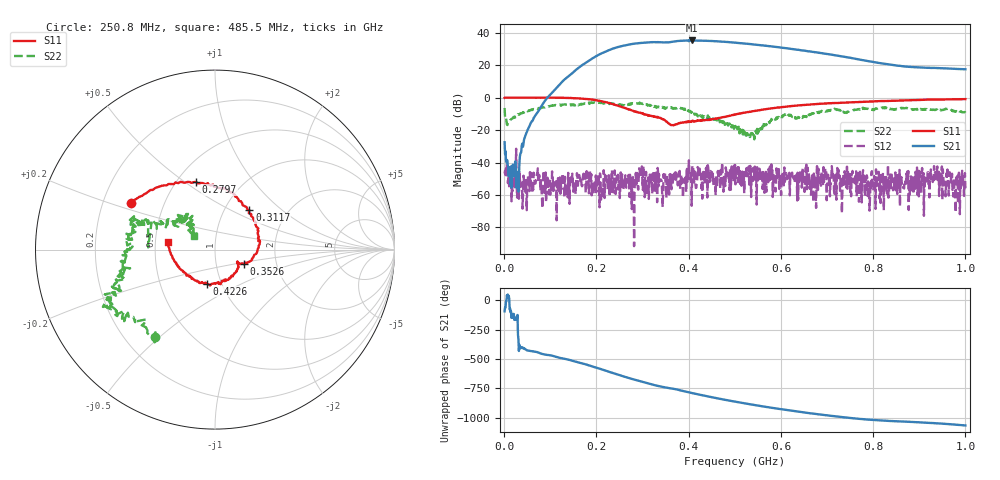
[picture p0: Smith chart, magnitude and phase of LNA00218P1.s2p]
! Created with skrf 1.9.0 (http://scikit-rf.org).
# Hz S RI R 50.0
!freq ReS11 ImS11 ReS21 ImS21 ReS12 ImS12 ReS22 ImS22
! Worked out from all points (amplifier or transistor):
!   1001 points, 1 MHz to 1 GHz, reference 50 ohm
!   highest |S21| = 35.2 dB at 406.6 MHz (marker M1)
!   |S21| within 3 dB of that: 262.8 MHz to 558.6 MHz (295.8 MHz wide, 72 % of centre)
!   unconditionally stable (mu >= 1): start of sweep to 89.72 MHz; 233.8 MHz to 292.5 MHz; 301.9 MHz to end of sweep (the widest 3 of 27)
!   at 166.8 MHz: K = 0.79, MSG = 34.8 dB, |S12| = -50.1 dB
!   at 500.5 MHz: K = 1.12, MAG = 34.8 dB, |S12| = -40.0 dB
!   at 1 GHz: K = 7.58, MAG = 24.9 dB, |S12| = -55.9 dB
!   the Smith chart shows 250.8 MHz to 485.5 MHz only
!   S11 on the Smith chart (normalised r, x): 250.8 MHz: 0.32, +0.23; 279.7 MHz: 0.62, +0.55; 311.7 MHz: 1.30, +0.62; 352.6 MHz: 1.36, -0.23; 422.6 MHz: 0.85, -0.34; 485.5 MHz: 0.58, +0.05
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1000000  0.9805 0.00818  -0.00253 -0.042  -0.00285 0.00358  0.3611 0.3133
1.08892e8  0.5056 -0.8515  -0.7578 -1.495  0.00248 -0.00111  0.4505 -0.3664
1.67833e8  -0.2591 -0.8888  -9.644 -0.6968  -0.00195 -0.000441  0.0565 -0.6383
2.12788e8  -0.7008 -0.312  -15.23 17.88  0.000741 0.000447  -0.172 -0.6544
2.5075e8  -0.4676 0.2597  5.129 36.79  -0.000237 -0.000767  -0.337 -0.487
2.79721e8  -0.1045 0.3763  30.61 33.24  -0.00274 0.0023  -0.5493 -0.3461
3.11689e8  0.1915 0.2189  48.56 10.72  -0.000398 0.00266  -0.5627 -0.2144
3.34666e8  0.243 0.0199  49.92 -9.287  0.000142 0.00187  -0.5248 -0.0649
3.52648e8  0.1616 -0.082  45.54 -20.46  -0.00097 0.00424  -0.489 0.0228
3.76624e8  0.1286 -0.088  41.33 -36.62  0.000686 0.00186  -0.4676 0.1561
4.06594e8  0.0411 -0.1754  20.55 -53.53  0.000344 0.000312  -0.3279 0.1474
4.22578e8  -0.046 -0.1897  7.017 -56.23  0.00365 0.00397  -0.2308 0.1382
4.5055e8  -0.1751 -0.1254  -14.75 -53.34  0.0035 0.00367  -0.1558 0.166
4.85515e8  -0.2639 0.0429  -34.15 -38.01  0.00381 0.000862  -0.1146 0.0748
5.005e8  -0.2771 0.1201  -39.54 -29.67  -0.00312 0.00948  -0.092 0.0819
5.39461e8  -0.1943 0.3271  -42.75 -7.764  0.00256 0.000946  -0.0784 -0.0383
5.84416e8  -0.00202 0.4765  -35.26 11.34  0.00382 -0.00197  -0.1745 -0.0983
6.25375e8  0.1894 0.5186  -23.3 20.48  0.0021 -0.00261  -0.2062 -0.1439
6.67333e8  0.3897 0.481  -11.28 22.96  -0.000633 -0.00337  -0.3259 -0.0455
7.42258e8  0.627 0.3107  2.629 17.41  0.00033 -0.00164  -0.3416 0.04
8.34166e8  0.7879 0.0337  6.349 8.348  0.000626 -0.000667  -0.408 0.2159
1e9  0.73 -0.5188  7.222 1.824  -0.00137 -0.000841  -0.0817 0.3318
